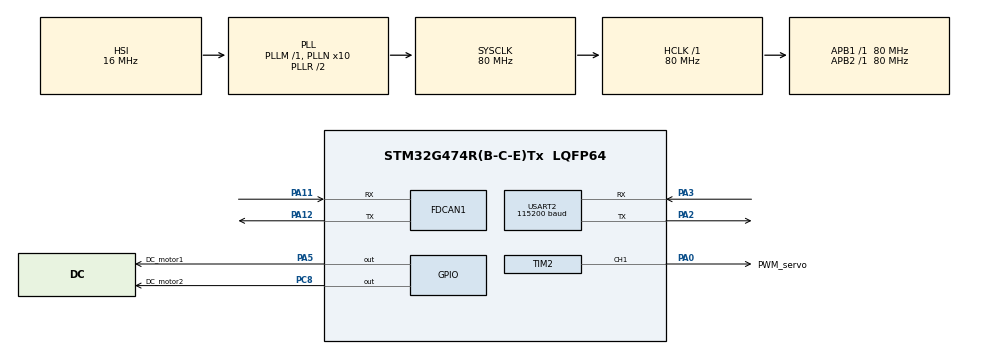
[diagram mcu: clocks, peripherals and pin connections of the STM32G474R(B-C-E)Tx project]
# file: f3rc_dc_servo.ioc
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FDCAN1.CalculateBaudRateNominal=1000000
FDCAN1.CalculateTimeBitNominal=1000
FDCAN1.CalculateTimeQuantumNominal=50.0
FDCAN1.DataPrescaler=2
FDCAN1.DataTimeSeg1=15
FDCAN1.DataTimeSeg2=4
FDCAN1.FrameFormat=FDCAN_FRAME_FD_BRS
FDCAN1.NominalPrescaler=4
FDCAN1.NominalTimeSeg1=15
FDCAN1.NominalTimeSeg2=4
FDCAN1.StdFiltersNbr=1
Mcu.Family=STM32G4
Mcu.Name=STM32G474R(B-C-E)Tx
Mcu.Package=LQFP64
NVIC.FDCAN1_IT0_IRQn=true\:0\:0\:false\:false\:true\:true\:true\:true
NVIC.FDCAN1_IT1_IRQn=true\:0\:0\:false\:false\:true\:true\:true\:true
NVIC.PriorityGroup=NVIC_PRIORITYGROUP_4
NVIC.TIM3_IRQn=true\:0\:0\:false\:false\:true\:true\:true\:true
NVIC.USART2_IRQn=true\:0\:0\:false\:false\:true\:true\:true\:true
PA0.GPIO_Label=PWM_servo
PA0.Signal=S_TIM2_CH1
PA11.Mode=FDCAN_Activate
PA11.Signal=FDCAN1_RX
PA12.Mode=FDCAN_Activate
PA12.Signal=FDCAN1_TX
PA2.Mode=Asynchronous
PA2.Signal=USART2_TX
PA3.Mode=Asynchronous
PA3.Signal=USART2_RX
PA5.GPIO_Label=DC_motor1
PA5.Signal=GPIO_Output
PC8.GPIO_Label=DC_motor2
PC8.Signal=GPIO_Output
ProjectManager.HeapSize=0x200
ProjectManager.StackSize=0x400
ProjectManager.TargetToolchain=STM32CubeIDE
RCC.ADC12Freq_Value=80000000
RCC.ADC345Freq_Value=80000000
RCC.AHBFreq_Value=80000000
RCC.APB1Freq_Value=80000000
RCC.APB1TimFreq_Value=80000000
RCC.APB2Freq_Value=80000000
RCC.APB2TimFreq_Value=80000000
RCC.CortexFreq_Value=80000000
RCC.EXTERNAL_CLOCK_VALUE=12288000
RCC.HCLKFreq_Value=80000000
RCC.HSE_VALUE=8000000
RCC.HSI48_VALUE=48000000
RCC.HSI_VALUE=16000000
RCC.LSE_VALUE=32768
RCC.PLLN=10
RCC.SYSCLKFreq_VALUE=80000000
RCC.SYSCLKSource=RCC_SYSCLKSOURCE_PLLCLK
RCC.USBFreq_Value=80000000
RCC.VCOOutputFreq_Value=160000000
SH.S_TIM2_CH1.0=TIM2_CH1,PWM Generation1 CH1
TIM2.Channel-PWM\ Generation1\ CH1=TIM_CHANNEL_1
TIM2.PeriodNoDither=999
TIM2.Prescaler=1599
TIM3.Prescaler=7999
USART2.BaudRate=115200
USART2.VirtualMode-Asynchronous=VM_ASYNC
VP_SYS_VS_DBSignals.Mode=DisableDeadBatterySignals
VP_TIM3_VS_ClockSourceINT.Mode=Internal
board=custom

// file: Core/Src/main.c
/* USER CODE BEGIN Header */
/**
  ******************************************************************************
  * @file           : main.c
  * @brief          : Main program body
  ******************************************************************************
  * @attention
  *
  * Copyright (c) 2024 STMicroelectronics.
  * All rights reserved.
  *
  * This software is licensed under terms that can be found in the LICENSE file
  * in the root directory of this software component.
  * If no LICENSE file comes with this software, it is provided AS-IS.
  *
  ******************************************************************************
  */
/* USER CODE END Header */
#include "main.h"

/* USER CODE BEGIN Includes */
#include <stdio.h>
/* USER CODE END Includes */

/* USER CODE BEGIN PD */
#define servo 6
#define dcmotor 3
#define ServoClose 115
#define ServoOpen 95
/* USER CODE END PD */

FDCAN_HandleTypeDef hfdcan1;

TIM_HandleTypeDef htim2;
TIM_HandleTypeDef htim3;

UART_HandleTypeDef huart2;

/* USER CODE BEGIN PV */
FDCAN_TxHeaderTypeDef TxHeader;
FDCAN_RxHeaderTypeDef RxHeader;
FDCAN_FilterTypeDef sFilterConfig;

uint8_t TxData[8] = {};
uint8_t RxData[8] = {};
uint8_t TxData_motor[8] = {};
uint8_t RxData_motor[8] = {};
uint32_t TxMailbox;

volatile uint8_t canstate=2;
/* USER CODE END PV */

void SystemClock_Config(void);
static void MX_GPIO_Init(void);
static void MX_FDCAN1_Init(void);
static void MX_TIM2_Init(void);
static void MX_USART2_UART_Init(void);
static void MX_TIM3_Init(void);

/* USER CODE BEGIN 0 */
void HAL_FDCAN_RxFifo1Callback(FDCAN_HandleTypeDef *hfdcan, uint32_t RxFifo1ITs){
	if ((RxFifo1ITs & FDCAN_IT_RX_FIFO1_NEW_MESSAGE) != RESET) {
		canstate = 0;

	        /* Retrieve Rx messages from RX FIFO0 */

		if (HAL_FDCAN_GetRxMessage(&hfdcan1, FDCAN_RX_FIFO1, &RxHeader, RxData) != HAL_OK) {
			printf("fdcan_getrxmessage is error\r\n");
			Error_Handler();
		}

		if (RxHeader.Identifier == 0x100) {
			//printf("%d\r\n",RxData[0]);
			if(servo == RxData[0]){
				if(0 == RxData[1] || 1 == RxData[1]){
					__HAL_TIM_SET_COMPARE(&htim2,TIM_CHANNEL_1,1000-ServoOpen);
				}else {
					__HAL_TIM_SET_COMPARE(&htim2,TIM_CHANNEL_1,1000-ServoClose);
				}
			}else{
				__HAL_TIM_SET_COMPARE(&htim2,TIM_CHANNEL_1,1000-ServoClose);
			}

			if(dcmotor == RxData[0]){
				//printf("a\r\n");
				if(0 == RxData[1] || 1 == RxData[1]){
					//printf("b\r\n");
					HAL_GPIO_WritePin(GPIOA,GPIO_PIN_5,GPIO_PIN_SET);
					HAL_GPIO_WritePin(GPIOC,GPIO_PIN_8,GPIO_PIN_SET);
				}else{
					HAL_GPIO_WritePin(GPIOA,GPIO_PIN_5,GPIO_PIN_RESET);
					HAL_GPIO_WritePin(GPIOC,GPIO_PIN_8,GPIO_PIN_RESET);
				}
			}else{
				HAL_GPIO_WritePin(GPIOA,GPIO_PIN_5,GPIO_PIN_RESET);
				HAL_GPIO_WritePin(GPIOC,GPIO_PIN_8,GPIO_PIN_RESET);
				//__HAL_TIM_SET_COMPARE(&htim2,TIM_CHANNEL_1,1000-ServoClose);
			}

		}
	}
}

void HAL_TIM_PeriodElapsedCallback(TIM_HandleTypeDef *htim){
	if(htim == &htim3){
		if(canstate == 0){
			canstate =1;
		}else if(canstate == 1){
			HAL_GPIO_WritePin(GPIOA,GPIO_PIN_5,GPIO_PIN_RESET);
			HAL_GPIO_WritePin(GPIOC,GPIO_PIN_8,GPIO_PIN_RESET);
			__HAL_TIM_SET_COMPARE(&htim2,TIM_CHANNEL_1,1000-ServoClose);
		}
	}
}

void FDCAN_RxTxSettings(void){
	FDCAN_FilterTypeDef FDCAN_Filter_settings;
	FDCAN_Filter_settings.IdType = FDCAN_STANDARD_ID;
	FDCAN_Filter_settings.FilterIndex = 0;
	FDCAN_Filter_settings.FilterType = FDCAN_FILTER_RANGE;
	FDCAN_Filter_settings.FilterConfig = FDCAN_FILTER_TO_RXFIFO1;
	FDCAN_Filter_settings.FilterID1 = 0x000;
	FDCAN_Filter_settings.FilterID2 = 0x600;

	TxHeader.Identifier = 0x400;
	TxHeader.IdType = FDCAN_STANDARD_ID;
	TxHeader.TxFrameType = FDCAN_DATA_FRAME;
	TxHeader.DataLength = FDCAN_DLC_BYTES_8;
	TxHeader.ErrorStateIndicator = FDCAN_ESI_ACTIVE;
	TxHeader.BitRateSwitch = FDCAN_BRS_ON;
	TxHeader.FDFormat = FDCAN_FD_CAN;
	TxHeader.TxEventFifoControl = FDCAN_NO_TX_EVENTS;
	TxHeader.MessageMarker = 0;

	if (HAL_FDCAN_ConfigFilter(&hfdcan1, &FDCAN_Filter_settings) != HAL_OK){
		printf("fdcan_configfilter is error\r\n");
		Error_Handler();
	}

	if (HAL_FDCAN_ConfigGlobalFilter(&hfdcan1, FDCAN_REJECT, FDCAN_FILTER_REJECT, FDCAN_FILTER_REMOTE, FDCAN_FILTER_REMOTE) != HAL_OK){
		printf("fdcan_configglobalfilter is error\r\n");
		Error_Handler();
	}

	if (HAL_FDCAN_Start(&hfdcan1) != HAL_OK) {
		printf("fdcan_start is error\r\n");
		Error_Handler();
	}

	if (HAL_FDCAN_ActivateNotification(&hfdcan1, FDCAN_IT_RX_FIFO1_NEW_MESSAGE, 0) != HAL_OK){
		printf("fdcan_activatenotification is error\r\n");
		Error_Handler();
	}
}

int _write(int file, char *ptr, int len)
{
    HAL_UART_Transmit(&huart2,(uint8_t *)ptr,len,10);
    return len;
}
/* USER CODE END 0 */

int main(void)
{

  /* USER CODE BEGIN 1 */
	setbuf(stdout, NULL);
  /* USER CODE END 1 */

  /* MCU Configuration--------------------------------------------------------*/

  /* Reset of all peripherals, Initializes the Flash interface and the Systick. */
  HAL_Init();

  /* Configure the system clock */
  SystemClock_Config();

  /* Initialize all configured peripherals */
  MX_GPIO_Init();
  MX_FDCAN1_Init();
  MX_TIM2_Init();
  MX_USART2_UART_Init();
  MX_TIM3_Init();
  /* USER CODE BEGIN 2 */
  printf("start\r\n");
  printf("can tx start\r\n");
  FDCAN_RxTxSettings();
  HAL_TIM_Base_Start_IT(&htim3);
  HAL_TIM_PWM_Start_IT(&htim2,TIM_CHANNEL_1);
  /* USER CODE END 2 */

  /* Infinite loop */
  while (1)
  {

  }
}

void SystemClock_Config(void)
{
  RCC_OscInitTypeDef RCC_OscInitStruct = {0};
  RCC_ClkInitTypeDef RCC_ClkInitStruct = {0};

  /** Configure the main internal regulator output voltage
  */
  HAL_PWREx_ControlVoltageScaling(PWR_REGULATOR_VOLTAGE_SCALE1);

  /** Initializes the RCC Oscillators according to the specified parameters
  * in the RCC_OscInitTypeDef structure.
  */
  RCC_OscInitStruct.OscillatorType = RCC_OSCILLATORTYPE_HSI;
  RCC_OscInitStruct.HSIState = RCC_HSI_ON;
  RCC_OscInitStruct.HSICalibrationValue = RCC_HSICALIBRATION_DEFAULT;
  RCC_OscInitStruct.PLL.PLLState = RCC_PLL_ON;
  RCC_OscInitStruct.PLL.PLLSource = RCC_PLLSOURCE_HSI;
  RCC_OscInitStruct.PLL.PLLM = RCC_PLLM_DIV1;
  RCC_OscInitStruct.PLL.PLLN = 10;
  RCC_OscInitStruct.PLL.PLLP = RCC_PLLP_DIV2;
  RCC_OscInitStruct.PLL.PLLQ = RCC_PLLQ_DIV2;
  RCC_OscInitStruct.PLL.PLLR = RCC_PLLR_DIV2;
  if (HAL_RCC_OscConfig(&RCC_OscInitStruct) != HAL_OK)
  {
    Error_Handler();
  }

  /** Initializes the CPU, AHB and APB buses clocks
  */
  RCC_ClkInitStruct.ClockType = RCC_CLOCKTYPE_HCLK|RCC_CLOCKTYPE_SYSCLK
                              |RCC_CLOCKTYPE_PCLK1|RCC_CLOCKTYPE_PCLK2;
  RCC_ClkInitStruct.SYSCLKSource = RCC_SYSCLKSOURCE_PLLCLK;
  RCC_ClkInitStruct.AHBCLKDivider = RCC_SYSCLK_DIV1;
  RCC_ClkInitStruct.APB1CLKDivider = RCC_HCLK_DIV1;
  RCC_ClkInitStruct.APB2CLKDivider = RCC_HCLK_DIV1;

  if (HAL_RCC_ClockConfig(&RCC_ClkInitStruct, FLASH_LATENCY_2) != HAL_OK)
  {
    Error_Handler();
  }
}

static void MX_FDCAN1_Init(void)
{

  hfdcan1.Instance = FDCAN1;
  hfdcan1.Init.ClockDivider = FDCAN_CLOCK_DIV1;
  hfdcan1.Init.FrameFormat = FDCAN_FRAME_FD_BRS;
  hfdcan1.Init.Mode = FDCAN_MODE_NORMAL;
  hfdcan1.Init.AutoRetransmission = DISABLE;
  hfdcan1.Init.TransmitPause = DISABLE;
  hfdcan1.Init.ProtocolException = DISABLE;
  hfdcan1.Init.NominalPrescaler = 4;
  hfdcan1.Init.NominalSyncJumpWidth = 1;
  hfdcan1.Init.NominalTimeSeg1 = 15;
  hfdcan1.Init.NominalTimeSeg2 = 4;
  hfdcan1.Init.DataPrescaler = 2;
  hfdcan1.Init.DataSyncJumpWidth = 1;
  hfdcan1.Init.DataTimeSeg1 = 15;
  hfdcan1.Init.DataTimeSeg2 = 4;
  hfdcan1.Init.StdFiltersNbr = 1;
  hfdcan1.Init.ExtFiltersNbr = 0;
  hfdcan1.Init.TxFifoQueueMode = FDCAN_TX_FIFO_OPERATION;
  if (HAL_FDCAN_Init(&hfdcan1) != HAL_OK)
  {
    Error_Handler();
  }

}

static void MX_TIM2_Init(void)
{

  TIM_MasterConfigTypeDef sMasterConfig = {0};
  TIM_OC_InitTypeDef sConfigOC = {0};

  htim2.Instance = TIM2;
  htim2.Init.Prescaler = 1599;
  htim2.Init.CounterMode = TIM_COUNTERMODE_UP;
  htim2.Init.Period = 999;
  htim2.Init.ClockDivision = TIM_CLOCKDIVISION_DIV1;
  htim2.Init.AutoReloadPreload = TIM_AUTORELOAD_PRELOAD_DISABLE;
  if (HAL_TIM_PWM_Init(&htim2) != HAL_OK)
  {
    Error_Handler();
  }
  sMasterConfig.MasterOutputTrigger = TIM_TRGO_RESET;
  sMasterConfig.MasterSlaveMode = TIM_MASTERSLAVEMODE_DISABLE;
  if (HAL_TIMEx_MasterConfigSynchronization(&htim2, &sMasterConfig) != HAL_OK)
  {
    Error_Handler();
  }
  sConfigOC.OCMode = TIM_OCMODE_PWM1;
  sConfigOC.Pulse = 0;
  sConfigOC.OCPolarity = TIM_OCPOLARITY_HIGH;
  sConfigOC.OCFastMode = TIM_OCFAST_DISABLE;
  if (HAL_TIM_PWM_ConfigChannel(&htim2, &sConfigOC, TIM_CHANNEL_1) != HAL_OK)
  {
    Error_Handler();
  }
  HAL_TIM_MspPostInit(&htim2);

}

static void MX_TIM3_Init(void)
{

  TIM_ClockConfigTypeDef sClockSourceConfig = {0};
  TIM_MasterConfigTypeDef sMasterConfig = {0};

  htim3.Instance = TIM3;
  htim3.Init.Prescaler = 7999;
  htim3.Init.CounterMode = TIM_COUNTERMODE_UP;
  htim3.Init.Period = 65535;
  htim3.Init.ClockDivision = TIM_CLOCKDIVISION_DIV1;
  htim3.Init.AutoReloadPreload = TIM_AUTORELOAD_PRELOAD_DISABLE;
  if (HAL_TIM_Base_Init(&htim3) != HAL_OK)
  {
    Error_Handler();
  }
  sClockSourceConfig.ClockSource = TIM_CLOCKSOURCE_INTERNAL;
  if (HAL_TIM_ConfigClockSource(&htim3, &sClockSourceConfig) != HAL_OK)
  {
    Error_Handler();
  }
  sMasterConfig.MasterOutputTrigger = TIM_TRGO_RESET;
  sMasterConfig.MasterSlaveMode = TIM_MASTERSLAVEMODE_DISABLE;
  if (HAL_TIMEx_MasterConfigSynchronization(&htim3, &sMasterConfig) != HAL_OK)
  {
    Error_Handler();
  }

}

static void MX_USART2_UART_Init(void)
{

  huart2.Instance = USART2;
  huart2.Init.BaudRate = 115200;
  huart2.Init.WordLength = UART_WORDLENGTH_8B;
  huart2.Init.StopBits = UART_STOPBITS_1;
  huart2.Init.Parity = UART_PARITY_NONE;
  huart2.Init.Mode = UART_MODE_TX_RX;
  huart2.Init.HwFlowCtl = UART_HWCONTROL_NONE;
  huart2.Init.OverSampling = UART_OVERSAMPLING_16;
  huart2.Init.OneBitSampling = UART_ONE_BIT_SAMPLE_DISABLE;
  huart2.Init.ClockPrescaler = UART_PRESCALER_DIV1;
  huart2.AdvancedInit.AdvFeatureInit = UART_ADVFEATURE_NO_INIT;
  if (HAL_UART_Init(&huart2) != HAL_OK)
  {
    Error_Handler();
  }
  if (HAL_UARTEx_SetTxFifoThreshold(&huart2, UART_TXFIFO_THRESHOLD_1_8) != HAL_OK)
  {
    Error_Handler();
  }
  if (HAL_UARTEx_SetRxFifoThreshold(&huart2, UART_RXFIFO_THRESHOLD_1_8) != HAL_OK)
  {
    Error_Handler();
  }
  if (HAL_UARTEx_DisableFifoMode(&huart2) != HAL_OK)
  {
    Error_Handler();
  }

}

static void MX_GPIO_Init(void)
{
  GPIO_InitTypeDef GPIO_InitStruct = {0};

  /* GPIO Ports Clock Enable */
  __HAL_RCC_GPIOA_CLK_ENABLE();
  __HAL_RCC_GPIOC_CLK_ENABLE();

  /*Configure GPIO pin Output Level */
  HAL_GPIO_WritePin(DC_motor1_GPIO_Port, DC_motor1_Pin, GPIO_PIN_RESET);

  /*Configure GPIO pin Output Level */
  HAL_GPIO_WritePin(DC_motor2_GPIO_Port, DC_motor2_Pin, GPIO_PIN_RESET);

  /*Configure GPIO pin : DC_motor1_Pin */
  GPIO_InitStruct.Pin = DC_motor1_Pin;
  GPIO_InitStruct.Mode = GPIO_MODE_OUTPUT_PP;
  GPIO_InitStruct.Pull = GPIO_NOPULL;
  GPIO_InitStruct.Speed = GPIO_SPEED_FREQ_LOW;
  HAL_GPIO_Init(DC_motor1_GPIO_Port, &GPIO_InitStruct);

  /*Configure GPIO pin : DC_motor2_Pin */
  GPIO_InitStruct.Pin = DC_motor2_Pin;
  GPIO_InitStruct.Mode = GPIO_MODE_OUTPUT_PP;
  GPIO_InitStruct.Pull = GPIO_NOPULL;
  GPIO_InitStruct.Speed = GPIO_SPEED_FREQ_LOW;
  HAL_GPIO_Init(DC_motor2_GPIO_Port, &GPIO_InitStruct);

}

void Error_Handler(void)
{
  __disable_irq();
  while (1)
  {
  }
}
